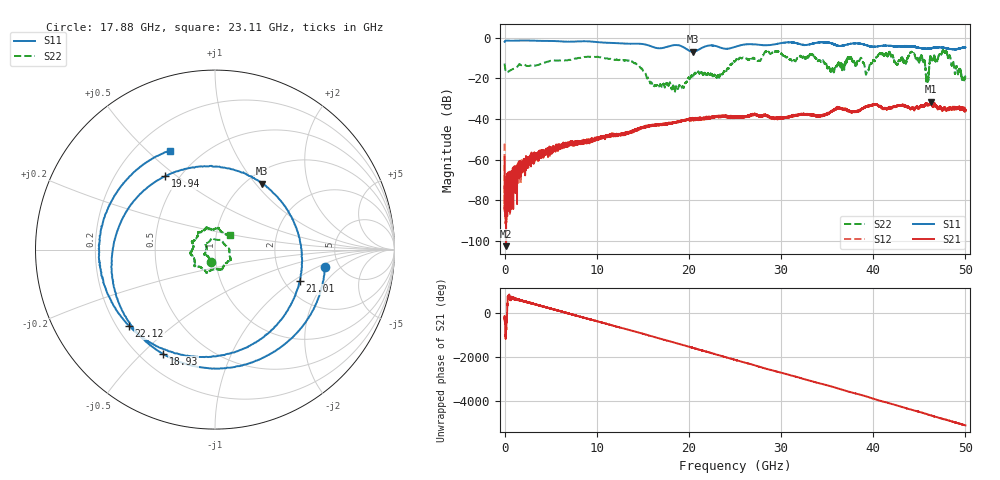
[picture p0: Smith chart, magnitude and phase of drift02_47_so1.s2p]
!Created with skrf (http://scikit-rf.org).
# Hz S RI R 50.0
!freq ReS11 ImS11 ReS21 ImS21 ReS12 ImS12 ReS22 ImS22
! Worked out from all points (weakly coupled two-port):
!   10001 points, 300 kHz to 50 GHz, reference 50 ohm
!   highest |S21| = -31.55 dB at 46.23 GHz (marker M1); lowest = -102.6 dB at 160.3 MHz (marker M2)
!   lowest |S11| = -6.9 dB at 20.44 GHz (marker M3), VSWR 2.64, Z = 58.7 + j54.1 ohm
!   |S11| at or under -10 dB: nowhere
!   |S22| runs from -26.8 to -5.9 dB; largest |S21 - S12| = 0.0031
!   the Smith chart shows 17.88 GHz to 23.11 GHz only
!   S11 on the Smith chart (normalised r, x): 17.88 GHz: 3.85, -1.24; 18.93 GHz: 0.29, -0.58; 19.94 GHz: 0.42, +0.45; 21.01 GHz: 2.40, -1.14; 22.12 GHz: 0.25, -0.36; 23.11 GHz: 0.34, +0.59
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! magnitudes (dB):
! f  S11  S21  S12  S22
! 300 kHz  -2.0  -58.8  -52.2  -12.7
! 160.3 MHz  -1.5  -102.6  -75.5  -16.9
! 3.305 GHz  -1.5  -57.8  -58.5  -13.7
! 8.335 GHz  -1.7  -51.0  -51.4  -9.7
! 13.71 GHz  -2.9  -46.0  -46.3  -11.7
! 16.67 GHz  -5.2  -42.9  -42.7  -23.6
! 17.88 GHz  -4.1  -42.4  -42.2  -22.6
! 18.93 GHz  -3.7  -41.1  -41.3  -23.6
! 19.94 GHz  -6.1  -40.4  -40.2  -19.7
! 20.44 GHz  -6.9  -40.5  -40.2  -19.1
! 21.01 GHz  -6.0  -40.2  -39.6  -16.8
! 22.12 GHz  -3.9  -39.5  -39.4  -17.5
! 23.11 GHz  -4.3  -38.9  -38.9  -18.7
! 25 GHz  -4.5  -39.1  -38.8  -11.5
! 33.34 GHz  -3.0  -37.8  -38.1  -8.4
! 39.33 GHz  -3.8  -33.7  -33.7  -16.6
! 41.67 GHz  -3.9  -34.7  -34.7  -7.7
! 44.26 GHz  -4.3  -34.6  -34.6  -7.4
! 45.85 GHz  -5.4  -32.9  -32.9  -19.6
! 46.23 GHz  -5.2  -31.5  -31.8  -9.7
! 47.75 GHz  -5.0  -34.7  -34.6  -7.1
! 50 GHz  -4.7  -36.1  -35.4  -19.0
